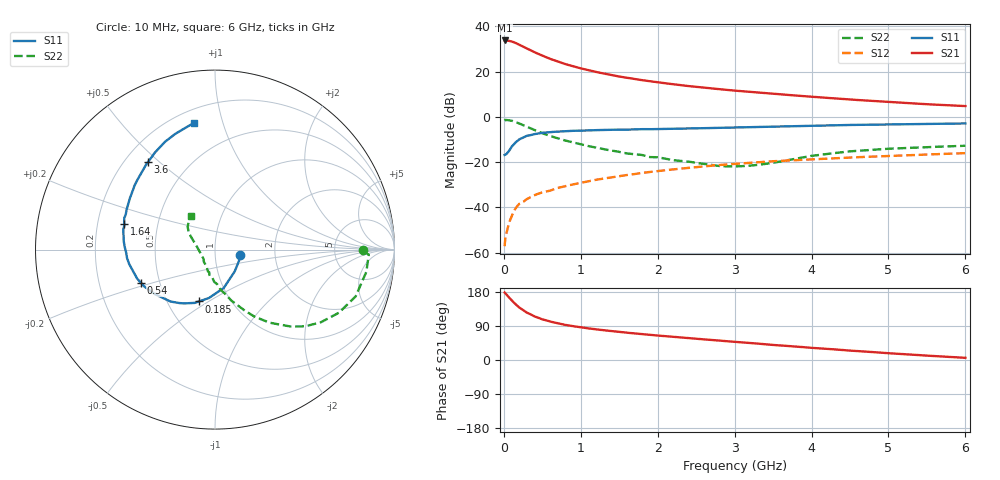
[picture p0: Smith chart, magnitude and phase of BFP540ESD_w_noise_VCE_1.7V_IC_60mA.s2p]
! Infineon Technologies  Discrete & RF Semiconductors
! BFP540ESD
! VCE =  1.7 V,  IC =  60 mA
! Common Emitter S-Parameters:  Nov 2015
# GHz  S  MA  R  50
!  f  S11  S21  S12  S22
! GHz  MAG  ANG  MAG  ANG  MAG  ANG  MAG  ANG
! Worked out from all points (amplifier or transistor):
!   210 points, 10 MHz to 6 GHz, reference 50 ohm
!   highest |S21| = 33.7 dB at 10 MHz (marker M1)
!   |S21| within 3 dB of that: start of sweep to 268.2 MHz
!   unconditionally stable (mu >= 1): start of sweep to 35.35 MHz; 1.082 GHz to end of sweep
!   at 185 MHz: K = 0.47, MSG = 35.6 dB, |S12| = -39.0 dB
!   at 1.52 GHz: K = 1.08, MAG = 20.2 dB, |S12| = -26.1 dB
!   at 6 GHz: K = 1.14, MAG = 8.1 dB, |S12| = -16.0 dB
!   lowest NFmin = 2.01 dB at 900 MHz
!   S11 on the Smith chart (normalised r, x): 10 MHz: 1.33, -0.09; 185 MHz: 0.72, -0.45; 540 MHz: 0.39, -0.18; 1.64 GHz: 0.32, +0.13; 3.6 GHz: 0.29, +0.46; 6 GHz: 0.28, +0.81
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0.01  0.1446 -12.8  48.56 178.0  0.0014 130.5  0.8232 -0.3
0.05  0.1639 -48.0  48.29 168.8  0.0035 84.7  0.8525 -8.3
0.1  0.2193 -77.2  46.3 157.5  0.0063 78.9  0.8258 -18.4
0.15  0.2718 -97.1  43.02 147.4  0.0094 72.3  0.7748 -27.0
0.185  0.3023 -107.2  40.33 141.4  0.0112 70.7  0.7317 -32.1
0.2  0.3179 -110.9  39.33 138.6  0.012 70.2  0.7151 -34.5
0.24  0.3449 -119.7  36.34 132.8  0.013 68.7  0.6688 -39.3
0.3  0.3811 -130.6  32.28 124.9  0.0153 65.6  0.6004 -45.5
0.38  0.408 -141.0  27.68 117.1  0.018 65.1  0.5253 -51.5
0.4  0.4166 -143.4  26.62 114.8  0.0187 65.0  0.5076 -53.3
0.5  0.4453 -152.7  22.41 107.3  0.0216 63.0  0.4348 -59.4
0.54  0.4516 -155.6  21.07 105.2  0.0224 63.5  0.4122 -61.1
0.7  0.4726 -165.7  16.65 96.7  0.027 63.2  0.3357 -67.8
1.02  0.4973 -179.1  11.54 85.7  0.0354 63.2  0.2425 -78.8
1.3  0.5131 172.6  9.027 78.5  0.0437 62.9  0.1932 -86.4
1.64  0.5253 164.1  7.109 71.3  0.0533 60.7  0.1536 -97.5
2.02  0.54 155.9  5.722 64.2  0.064 58.4  0.1267 -108.3
3.1  0.5869 135.7  3.678 46.4  0.0941 49.0  0.0817 -161.0
3.6  0.6141 127.5  3.133 38.4  0.1069 43.9  0.1039 169.6
4.1  0.6409 120.2  2.703 30.8  0.1176 39.1  0.1446 153.7
5.1  0.6846 107.9  2.088 16.7  0.1391 29.7  0.2012 138.7
6  0.7157 99.4  1.73 5.7  0.1581 22.4  0.2303 125.0
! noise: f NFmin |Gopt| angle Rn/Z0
0.9  2.01  0.53  -140  0.17
1.8  2.16  0.55  -142  0.17
2.4  2.22  0.56  -131  0.22
3  2.36  0.58  -122  0.31
4  2.43  0.64  -102  0.57
5  2.56  0.7  -86  0.85
6  3.02  0.65  -82  1.34
